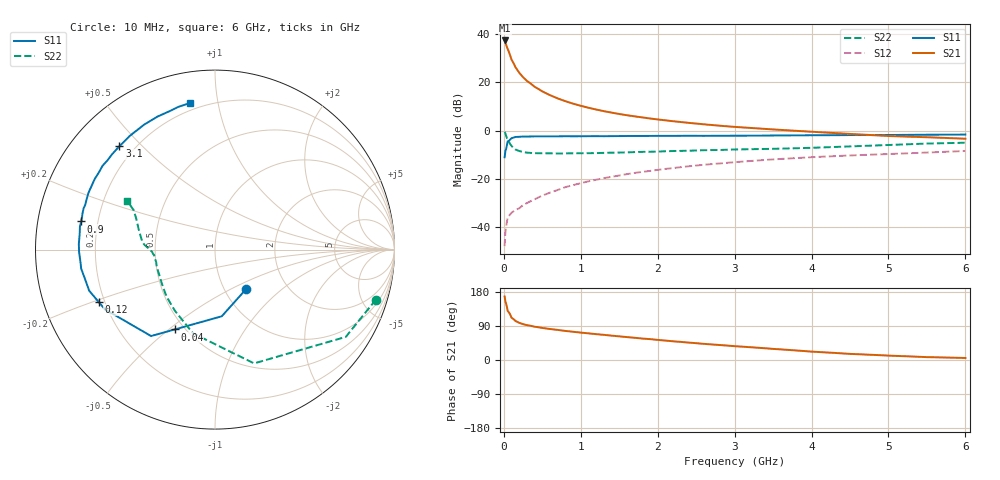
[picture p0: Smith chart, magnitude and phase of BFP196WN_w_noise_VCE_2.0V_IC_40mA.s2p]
! Infineon Technologies  Discrete & RF Semiconductors
! BFP196WN
! VCE =  2.0 V,  IC =  40 mA
! Common Emitter S-Parameters:  Jan 2017
# GHz  S  MA  R  50
!  f  S11  S21  S12  S22
! GHz  MAG  ANG  MAG  ANG  MAG  ANG  MAG  ANG
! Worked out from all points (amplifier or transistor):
!   77 points, 10 MHz to 6 GHz, reference 50 ohm
!   highest |S21| = 37.4 dB at 10 MHz (marker M1)
!   |S21| within 3 dB of that: start of sweep to 43.43 MHz
!   unconditionally stable (mu >= 1): 623.2 MHz to 2.864 GHz
!   at 130 MHz: K = 0.51, MSG = 30.6 dB, |S12| = -33.4 dB
!   at 2.2 GHz: K = 1.02, MAG = 8.8 dB, |S12| = -15.5 dB
!   at 6 GHz: K = 0.93, MSG = 2.5 dB, |S12| = -8.4 dB
!   lowest NFmin = 1.16 dB at 450 MHz
!   S11 on the Smith chart (normalised r, x): 10 MHz: 1.26, -0.60; 40 MHz: 0.44, -0.52; 120 MHz: 0.18, -0.21; 900 MHz: 0.14, +0.10; 3.1 GHz: 0.14, +0.43; 6 GHz: 0.16, +0.83
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0.01  0.2798 -51.4  74.17 167.5  0.004 76.3  0.9384 -17.3
0.02  0.3734 -84.2  67.62 154.7  0.0078 72.3  0.8762 -33.7
0.04  0.4985 -116.8  54.2 139.8  0.0129 54.8  0.7019 -56.4
0.05  0.5991 -126.5  49.41 129.6  0.0157 50.5  0.6704 -71.0
0.09  0.6688 -147.2  33.27 116.7  0.0189 46.4  0.503 -96.2
0.1  0.6979 -151.5  29.68 111.4  0.0197 45.6  0.4824 -104.7
0.12  0.7109 -155.8  26.09 108.8  0.0208 45.3  0.4464 -111.5
0.15  0.7374 -161.9  20.85 103.1  0.0225 45.0  0.4064 -123.6
0.2  0.7436 -167.9  15.88 98.1  0.0244 49.6  0.3769 -135.4
0.25  0.7531 -171.9  12.8 94.6  0.0286 51.9  0.3599 -142.9
0.3  0.7527 -174.7  10.74 92.0  0.0313 54.7  0.3489 -149.0
0.4  0.7574 -179.1  8.116 87.8  0.0375 58.9  0.3405 -156.2
0.5  0.7593 177.6  6.507 84.6  0.0448 61.6  0.3385 -161.4
0.7  0.7598 172.6  4.656 79.4  0.0586 65.4  0.3349 -167.6
0.9  0.7616 168.1  3.621 74.5  0.0739 66.1  0.338 -171.2
1.1  0.7656 164.5  2.978 70.3  0.0887 66.7  0.3401 -174.1
1.5  0.7697 157.6  2.209 62.4  0.117 65.2  0.35 -177.9
2.1  0.7767 147.9  1.633 51.3  0.1602 61.6  0.3722 178.7
3.1  0.7838 132.8  1.165 35.2  0.2273 53.5  0.4083 173.4
4.1  0.801 118.4  0.927 21.0  0.2852 44.9  0.4452 163.9
5.1  0.813 107.6  0.763 10.8  0.3311 37.2  0.5096 153.8
6  0.828 99.8  0.678 5.3  0.3782 31.3  0.5603 151.3
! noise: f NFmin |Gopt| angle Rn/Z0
0.45  1.16  0.5  -179  0.04
0.9  1.29  0.54  -173  0.05
1.9  2.21  0.68  -148  0.13
2.4  2.95  0.69  -141  0.26
